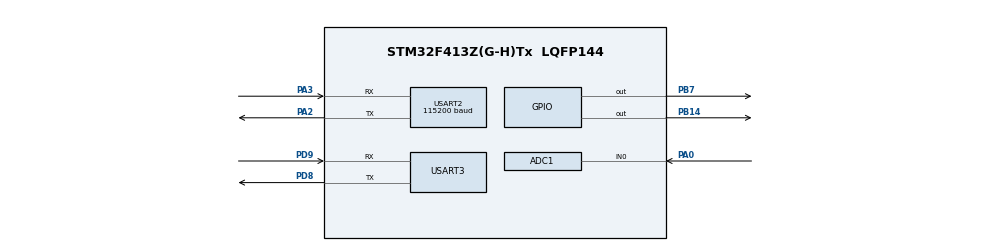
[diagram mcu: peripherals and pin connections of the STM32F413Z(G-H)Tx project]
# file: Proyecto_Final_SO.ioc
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ADC1.Channel-0\#ChannelRegularConversion=ADC_CHANNEL_0
ADC1.NbrOfConversionFlag=1
ADC1.Rank-0\#ChannelRegularConversion=1
ADC1.Resolution=ADC_RESOLUTION_8B
ADC1.SamplingTime-0\#ChannelRegularConversion=ADC_SAMPLETIME_15CYCLES
ADC1.master=1
FREERTOS.Tasks01=defaultTask,0,128,StartDefaultTask,Default,NULL,Dynamic,NULL,NULL
FREERTOS.configUSE_NEWLIB_REENTRANT=1
Mcu.Family=STM32F4
Mcu.Name=STM32F413Z(G-H)Tx
Mcu.Package=LQFP144
NVIC.PriorityGroup=NVIC_PRIORITYGROUP_4
NVIC.TIM1_UP_TIM10_IRQn=true\:15\:0\:false\:false\:true\:false\:false\:true\:true
NVIC.TimeBase=TIM1_UP_TIM10_IRQn
NVIC.TimeBaseIP=TIM1
NVIC.USART2_IRQn=true\:5\:0\:false\:false\:true\:true\:true\:true\:true
PA0.Signal=ADCx_IN0
PA13.Mode=Serial_Wire
PA13.Signal=SYS_JTMS-SWDIO
PA14.Mode=Serial_Wire
PA14.Signal=SYS_JTCK-SWCLK
PA2.Mode=Asynchronous
PA2.Signal=USART2_TX
PA3.Mode=Asynchronous
PA3.Signal=USART2_RX
PB14.Signal=GPIO_Output
PB7.Signal=GPIO_Output
PD8.Mode=Asynchronous
PD8.Signal=USART3_TX
PD9.Mode=Asynchronous
PD9.Signal=USART3_RX
ProjectManager.HeapSize=0x200
ProjectManager.StackSize=0x400
ProjectManager.TargetToolchain=STM32CubeIDE
RCC.CortexFreq_Value=16000000
RCC.USBFreq_Value=96000000
RCC.VCOOutputFreq_Value=192000000
SH.ADCx_IN0.0=ADC1_IN0,IN0
USART2.BaudRate=115200
USART2.VirtualMode=VM_ASYNC
USART3.VirtualMode=VM_ASYNC
VP_FREERTOS_VS_CMSIS_V1.Mode=CMSIS_V1
VP_SYS_VS_tim1.Mode=TIM1
VP_TIM6_VS_ClockSourceINT.Mode=Enable_Timer
board=custom

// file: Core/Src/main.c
/* USER CODE BEGIN Header */
/**
  ******************************************************************************
  * @file           : main.c
  * @brief          : Main program body
  ******************************************************************************
  * @attention
  *
  * Copyright (c) 2023 STMicroelectronics.
  * All rights reserved.
  *
  * This software is licensed under terms that can be found in the LICENSE file
  * in the root directory of this software component.
  * If no LICENSE file comes with this software, it is provided AS-IS.
  *
  ******************************************************************************
  */
/* USER CODE END Header */
#include "main.h"
#include "cmsis_os.h"

/* USER CODE BEGIN Includes */
#include <stdio.h>
#include <string.h>
/* USER CODE END Includes */

ADC_HandleTypeDef hadc1;

TIM_HandleTypeDef htim6;

UART_HandleTypeDef huart2;
UART_HandleTypeDef huart3;

osThreadId defaultTaskHandle;
/* USER CODE BEGIN PV */
uint16_t gas=0;
char msg[13];
TimerHandle_t ADC_TimerHandle;
TimerHandle_t UART_TimerHandle;

void ADC_TimerCallBack(TimerHandle_t xTimer);
void UART_TimerCallback(TimerHandle_t xTimer);

/* USER CODE END PV */

void SystemClock_Config(void);
static void MX_GPIO_Init(void);
static void MX_ADC1_Init(void);
static void MX_USART2_UART_Init(void);
static void MX_TIM6_Init(void);
static void MX_USART3_UART_Init(void);
void StartDefaultTask(void const * argument);

/* USER CODE BEGIN PFP */
void UART_Task(void *pvParameters);
void ADC_Task(void *pvParameters);
/* USER CODE END PFP */

/* USER CODE BEGIN 0 */
void vApplicationGetTimerTaskMemory(StaticTask_t **ppxTimerTaskTCBBuffer, StackType_t **ppxTimerTaskStackBuffer, uint32_t *pulTimerTaskStackSize)
{
    /* Static memory allocation for the Timer task. */
    static StaticTask_t xTimerTaskTCB;
    static StackType_t uxTimerTaskStack[configTIMER_TASK_STACK_DEPTH];

    /* Pass the buffer pointers to FreeRTOS */
    *ppxTimerTaskTCBBuffer = &xTimerTaskTCB;
    *ppxTimerTaskStackBuffer = uxTimerTaskStack;
    *pulTimerTaskStackSize = configTIMER_TASK_STACK_DEPTH;
}
void ADC_TimerCallback(TimerHandle_t xTimer)
{
	gas = 0;
    HAL_ADC_Start(&hadc1);
    HAL_ADC_PollForConversion(&hadc1, 60000);
    gas = HAL_ADC_GetValue(&hadc1);
    HAL_GPIO_WritePin(GPIOB, GPIO_PIN_7, 1);
    if(gas > 0 && gas<255){
    	HAL_GPIO_WritePin(GPIOB, GPIO_PIN_14, 1);
    }
    else{
    	HAL_GPIO_WritePin(GPIOB, GPIO_PIN_14, 0);
    }
}
void UART_TimerCallback(TimerHandle_t xTimer)
{
    sprintf(msg, "Gas: %04d\r\n", gas);
    HAL_UART_Transmit(&huart3, (uint8_t*)msg, strlen(msg), HAL_MAX_DELAY);
    //HAL_UART_Transmit_IT(&huart3, (uint8_t*)msg, strlen(msg));
    HAL_GPIO_WritePin(GPIOB, GPIO_PIN_7, 0);
}
/* USER CODE END 0 */

int main(void)
{

  /* MCU Configuration--------------------------------------------------------*/

  /* Reset of all peripherals, Initializes the Flash interface and the Systick. */
  HAL_Init();

  /* Configure the system clock */
  SystemClock_Config();

  /* Initialize all configured peripherals */
  MX_GPIO_Init();
  MX_ADC1_Init();
  MX_USART2_UART_Init();
  MX_TIM6_Init();
  MX_USART3_UART_Init();

  /* Create the thread(s) */
  /* definition and creation of defaultTask */
  osThreadDef(defaultTask, StartDefaultTask, osPriorityNormal, 0, 128);
  defaultTaskHandle = osThreadCreate(osThread(defaultTask), NULL);

  /* USER CODE BEGIN RTOS_THREADS */
  /* add threads, ... */

   ADC_TimerHandle = xTimerCreate("ADC Timer", pdMS_TO_TICKS(200), pdTRUE, (void*)0, ADC_TimerCallback);
   UART_TimerHandle = xTimerCreate("UART Timer", pdMS_TO_TICKS(200), pdTRUE, (void*)0, UART_TimerCallback);

    /* Start Timers */
    xTimerStart(ADC_TimerHandle, 0);
    xTimerStart(UART_TimerHandle, 0);

   vTaskStartScheduler();
  /* USER CODE END RTOS_THREADS */

  /* Start scheduler */
  osKernelStart();

  /* We should never get here as control is now taken by the scheduler */
  /* Infinite loop */
  while (1)
  {

  }
}

void SystemClock_Config(void)
{
  RCC_OscInitTypeDef RCC_OscInitStruct = {0};
  RCC_ClkInitTypeDef RCC_ClkInitStruct = {0};

  /** Configure the main internal regulator output voltage
  */
  __HAL_RCC_PWR_CLK_ENABLE();
  __HAL_PWR_VOLTAGESCALING_CONFIG(PWR_REGULATOR_VOLTAGE_SCALE1);

  /** Initializes the RCC Oscillators according to the specified parameters
  * in the RCC_OscInitTypeDef structure.
  */
  RCC_OscInitStruct.OscillatorType = RCC_OSCILLATORTYPE_HSI;
  RCC_OscInitStruct.HSIState = RCC_HSI_ON;
  RCC_OscInitStruct.HSICalibrationValue = RCC_HSICALIBRATION_DEFAULT;
  RCC_OscInitStruct.PLL.PLLState = RCC_PLL_NONE;
  if (HAL_RCC_OscConfig(&RCC_OscInitStruct) != HAL_OK)
  {
    Error_Handler();
  }

  /** Initializes the CPU, AHB and APB buses clocks
  */
  RCC_ClkInitStruct.ClockType = RCC_CLOCKTYPE_HCLK|RCC_CLOCKTYPE_SYSCLK
                              |RCC_CLOCKTYPE_PCLK1|RCC_CLOCKTYPE_PCLK2;
  RCC_ClkInitStruct.SYSCLKSource = RCC_SYSCLKSOURCE_HSI;
  RCC_ClkInitStruct.AHBCLKDivider = RCC_SYSCLK_DIV1;
  RCC_ClkInitStruct.APB1CLKDivider = RCC_HCLK_DIV1;
  RCC_ClkInitStruct.APB2CLKDivider = RCC_HCLK_DIV1;

  if (HAL_RCC_ClockConfig(&RCC_ClkInitStruct, FLASH_LATENCY_0) != HAL_OK)
  {
    Error_Handler();
  }
}

static void MX_ADC1_Init(void)
{

  ADC_ChannelConfTypeDef sConfig = {0};

  /** Configure the global features of the ADC (Clock, Resolution, Data Alignment and number of conversion)
  */
  hadc1.Instance = ADC1;
  hadc1.Init.ClockPrescaler = ADC_CLOCK_SYNC_PCLK_DIV2;
  hadc1.Init.Resolution = ADC_RESOLUTION_8B;
  hadc1.Init.ScanConvMode = DISABLE;
  hadc1.Init.ContinuousConvMode = DISABLE;
  hadc1.Init.DiscontinuousConvMode = DISABLE;
  hadc1.Init.ExternalTrigConvEdge = ADC_EXTERNALTRIGCONVEDGE_NONE;
  hadc1.Init.ExternalTrigConv = ADC_SOFTWARE_START;
  hadc1.Init.DataAlign = ADC_DATAALIGN_RIGHT;
  hadc1.Init.NbrOfConversion = 1;
  hadc1.Init.DMAContinuousRequests = DISABLE;
  hadc1.Init.EOCSelection = ADC_EOC_SINGLE_CONV;
  if (HAL_ADC_Init(&hadc1) != HAL_OK)
  {
    Error_Handler();
  }

  /** Configure for the selected ADC regular channel its corresponding rank in the sequencer and its sample time.
  */
  sConfig.Channel = ADC_CHANNEL_0;
  sConfig.Rank = 1;
  sConfig.SamplingTime = ADC_SAMPLETIME_15CYCLES;
  if (HAL_ADC_ConfigChannel(&hadc1, &sConfig) != HAL_OK)
  {
    Error_Handler();
  }

}

static void MX_TIM6_Init(void)
{

  TIM_MasterConfigTypeDef sMasterConfig = {0};

  htim6.Instance = TIM6;
  htim6.Init.Prescaler = 0;
  htim6.Init.CounterMode = TIM_COUNTERMODE_UP;
  htim6.Init.Period = 65535;
  htim6.Init.AutoReloadPreload = TIM_AUTORELOAD_PRELOAD_DISABLE;
  if (HAL_TIM_Base_Init(&htim6) != HAL_OK)
  {
    Error_Handler();
  }
  sMasterConfig.MasterOutputTrigger = TIM_TRGO_RESET;
  sMasterConfig.MasterSlaveMode = TIM_MASTERSLAVEMODE_DISABLE;
  if (HAL_TIMEx_MasterConfigSynchronization(&htim6, &sMasterConfig) != HAL_OK)
  {
    Error_Handler();
  }

}

static void MX_USART2_UART_Init(void)
{

  huart2.Instance = USART2;
  huart2.Init.BaudRate = 115200;
  huart2.Init.WordLength = UART_WORDLENGTH_8B;
  huart2.Init.StopBits = UART_STOPBITS_1;
  huart2.Init.Parity = UART_PARITY_NONE;
  huart2.Init.Mode = UART_MODE_TX_RX;
  huart2.Init.HwFlowCtl = UART_HWCONTROL_NONE;
  huart2.Init.OverSampling = UART_OVERSAMPLING_16;
  if (HAL_UART_Init(&huart2) != HAL_OK)
  {
    Error_Handler();
  }

}

static void MX_USART3_UART_Init(void)
{

  huart3.Instance = USART3;
  huart3.Init.BaudRate = 115200;
  huart3.Init.WordLength = UART_WORDLENGTH_8B;
  huart3.Init.StopBits = UART_STOPBITS_1;
  huart3.Init.Parity = UART_PARITY_NONE;
  huart3.Init.Mode = UART_MODE_TX_RX;
  huart3.Init.HwFlowCtl = UART_HWCONTROL_NONE;
  huart3.Init.OverSampling = UART_OVERSAMPLING_16;
  if (HAL_UART_Init(&huart3) != HAL_OK)
  {
    Error_Handler();
  }

}

static void MX_GPIO_Init(void)
{
  GPIO_InitTypeDef GPIO_InitStruct = {0};

  /* GPIO Ports Clock Enable */
  __HAL_RCC_GPIOA_CLK_ENABLE();
  __HAL_RCC_GPIOB_CLK_ENABLE();
  __HAL_RCC_GPIOD_CLK_ENABLE();

  /*Configure GPIO pin Output Level */
  HAL_GPIO_WritePin(GPIOB, GPIO_PIN_14|GPIO_PIN_7, GPIO_PIN_RESET);

  /*Configure GPIO pins : PB14 PB7 */
  GPIO_InitStruct.Pin = GPIO_PIN_14|GPIO_PIN_7;
  GPIO_InitStruct.Mode = GPIO_MODE_OUTPUT_PP;
  GPIO_InitStruct.Pull = GPIO_NOPULL;
  GPIO_InitStruct.Speed = GPIO_SPEED_FREQ_LOW;
  HAL_GPIO_Init(GPIOB, &GPIO_InitStruct);

}

void StartDefaultTask(void const * argument)
{
  for(;;)
  {
    osDelay(1);
  }
}

void HAL_TIM_PeriodElapsedCallback(TIM_HandleTypeDef *htim)
{
  if (htim->Instance == TIM1) {
    HAL_IncTick();
  }
}

void Error_Handler(void)
{
  __disable_irq();
  while (1)
  {
  }
}
